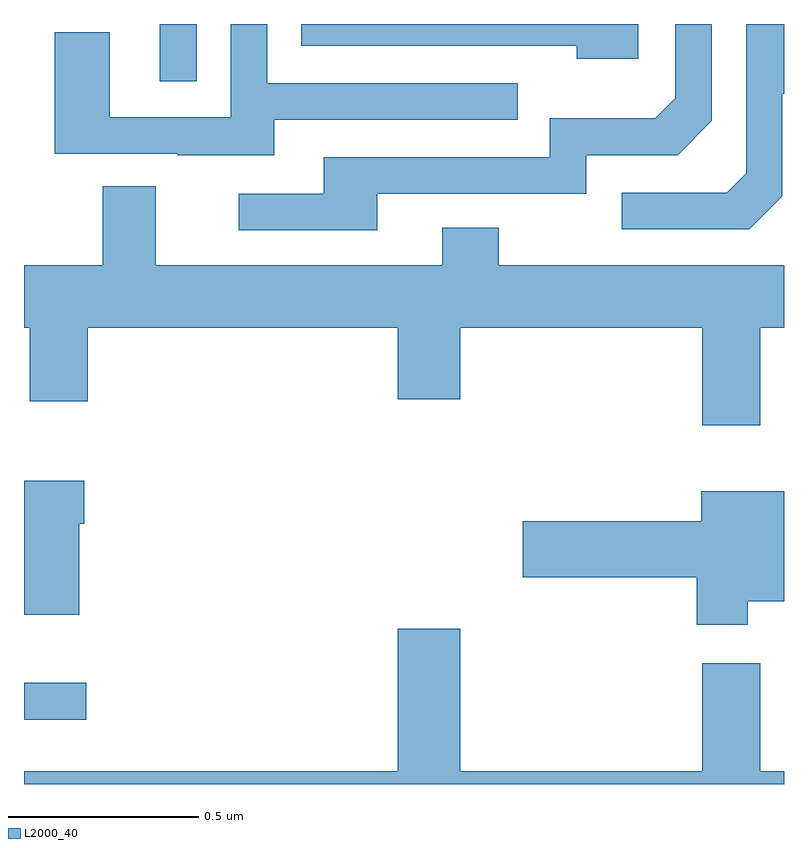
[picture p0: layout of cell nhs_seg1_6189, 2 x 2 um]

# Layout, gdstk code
import gdstk
lib = gdstk.Library(unit=1e-6, precision=1e-09)
def R(c, l, rs):  # rectangles x0, y0, x1, y1
    for r in rs: c.add(gdstk.rectangle(r[:2], r[2:], *l))
def P(c, l, *ps):  # polygons
    for p in ps: c.add(gdstk.Polygon(p, *l))
L2000_40 = (2000, 40)

nhs_seg1_6189 = lib.new_cell('nhs_seg1_6189')
R(nhs_seg1_6189, L2000_40, [(188,549.368,188.164,549.465), (188.357,551.049,188.454,551.199)])
P(nhs_seg1_6189, L2000_40, [(189.616,551.199),(188.73,551.199),(188.73,551.142),(189.455,551.142),(189.455,551.108),(189.616,551.108)],
  [(189.996,550.746),(189.996,551.015),(190,551.015),(190,551.199),(189.9,551.199),(189.9,550.806),(189.849,550.755),(189.573,550.755),(189.573,550.659),(189.909,550.659)],
  [(188.929,550.752),(189.48,550.752),(189.48,550.854),(189.72,550.854),(189.81,550.944),(189.81,551.199),(189.714,551.199),(189.714,551.004),(189.661,550.951),(189.384,550.951),(189.384,550.848),(188.789,550.848),(188.789,550.752),(188.565,550.752),(188.565,550.656),(188.929,550.656)],
  [(188.659,550.947),(189.299,550.947),(189.299,551.043),(188.64,551.043),(188.64,551.199),(188.544,551.199),(188.544,550.953),(188.226,550.953),(188.226,551.177),(188.081,551.177),(188.081,550.857),(188.405,550.857),(188.405,550.853),(188.659,550.853)],
  [(188,550.4),(188.015,550.4),(188.015,550.206),(188.168,550.206),(188.168,550.4),(188.984,550.4),(188.984,550.212),(189.148,550.212),(189.148,550.4),(189.785,550.4),(189.785,550.143),(189.937,550.143),(189.937,550.4),(190,550.4),(190,550.564),(189.249,550.564),(189.249,550.663),(189.101,550.663),(189.101,550.564),(188.347,550.564),(188.347,550.772),(188.207,550.772),(188.207,550.564),(188,550.564)],
  [(188.146,549.884),(188.159,549.884),(188.159,549.997),(188,549.997),(188,549.644),(188.146,549.644)],
  [(189.904,549.68),(190,549.68),(190,549.97),(189.782,549.97),(189.782,549.89),(189.312,549.89),(189.312,549.743),(189.77,549.743),(189.77,549.618),(189.904,549.618)],
  [(190,549.232),(189.937,549.232),(189.937,549.517),(189.785,549.517),(189.785,549.232),(189.148,549.232),(189.148,549.607),(188.984,549.607),(188.984,549.232),(188,549.232),(188,549.199),(190,549.199)])

lib.write_gds('nhs_seg1_6189.gds')
